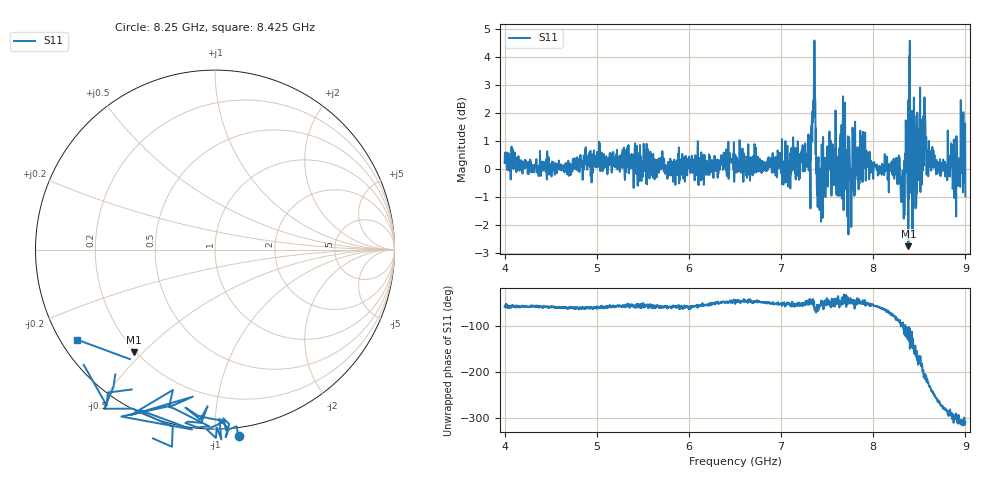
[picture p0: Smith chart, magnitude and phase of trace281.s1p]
! Created with skrf 1.8.0 (http://scikit-rf.org).
# Hz S RI R 50.0
!freq ReS11 ImS11
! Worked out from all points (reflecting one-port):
!   1601 points, 4 GHz to 9 GHz, reference 50 ohm
!   lowest |S11| = -2.7 dB at 8.381 GHz (marker M1), VSWR 6.38, Z = 9.63 - j23.5 ohm
!   phase of S11 starts at -58 deg and turns -250 deg over the sweep
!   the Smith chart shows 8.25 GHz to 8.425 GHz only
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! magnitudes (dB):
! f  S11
! 4 GHz  0.2
! 4.625 GHz  0.0
! 5.25 GHz  -0.1
! 5.875 GHz  0.1
! 6.5 GHz  0.2
! 7.125 GHz  0.1
! 7.294 GHz  0.9
! 7.353 GHz  1.9
! 7.412 GHz  -0.8
! 7.512 GHz  0.7
! 7.609 GHz  -0.1
! 7.669 GHz  1.5
! 7.75 GHz  0.0
! 7.891 GHz  0.1
! 8.262 GHz  -0.5
! 8.316 GHz  -0.2
! 8.356 GHz  0.9
! 8.375 GHz  -1.0
! 8.381 GHz  -2.7
! 8.447 GHz  1.9
! 8.459 GHz  -1.4
! 8.475 GHz  -0.9
! 8.541 GHz  1.9
! 8.603 GHz  1.0
! 8.712 GHz  0.1
! 8.906 GHz  0.7
! 8.972 GHz  0.6
! 9 GHz  -1.0
